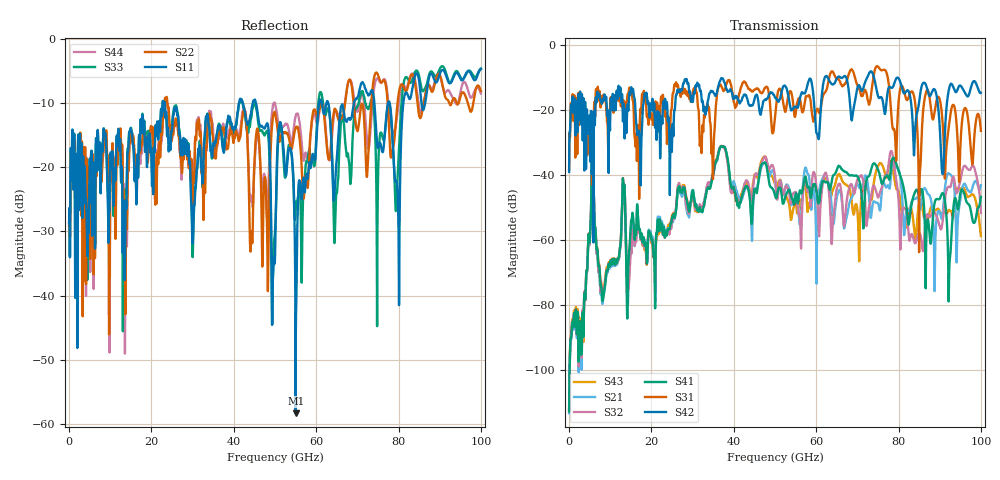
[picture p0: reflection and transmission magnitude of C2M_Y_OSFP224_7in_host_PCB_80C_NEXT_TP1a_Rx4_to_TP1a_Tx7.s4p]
# GHz S RI R 45
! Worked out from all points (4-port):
!   4000 points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, 25 MHz to 100 GHz, reference 45 ohm
!   strongest paths, dB at 25 MHz, 25.02 GHz, 50.02 GHz, 75.03 GHz, 100 GHz:
!     S42: -38.9, -28.8, -16.1, -15.6, -14.6
!     S31: -38.3, -17.6, -22.2, -6.5, -26.3
!     S41: -112.7, -52.7, -46.2, -38.2, -46.6
!     S32: -112.4, -53.5, -40.6, -46.8, -51.6
!     S21: -113.2, -53.6, -41.4, -48.6, -43.0
!     S43: -112.0, -52.2, -42.7, -37.1, -58.7
!   lowest |S11| = -58.4 dB at 55.02 GHz (marker M1), VSWR 1.00, Z = 45 + j0.0976 ohm
!   |S11| at or under -10 dB: start of sweep to 22.71 GHz; 23.24 GHz to 41.3 GHz (18.06 GHz wide, 56 % of centre); 45.43 GHz to 60.73 GHz (15.31 GHz wide, 28.8 % of centre) (the widest 3 of 10)
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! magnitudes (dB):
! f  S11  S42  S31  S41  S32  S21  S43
! 25 MHz  -28.7  -38.9  -38.3  -112.7  -112.4  -113.2  -112.0
! 5.725 GHz  -23.5  -20.6  -23.8  -36.6  -36.9  -36.9  -36.6
! 8.075 GHz  -17.2  -17.2  -17.3  -78.2  -77.7  -79.5  -76.6
! 13.22 GHz  -25.1  -18.7  -16.9  -43.0  -43.2  -43.3  -42.9
! 37 GHz  -14.9  -10.0  -12.7  -31.0  -31.0  -31.1  -30.9
! 55.02 GHz  -58.4  -18.9  -21.1  -45.9  -45.1  -45.6  -47.5
! 100 GHz  -4.7  -14.6  -26.3  -46.6  -51.6  -43.0  -58.7
